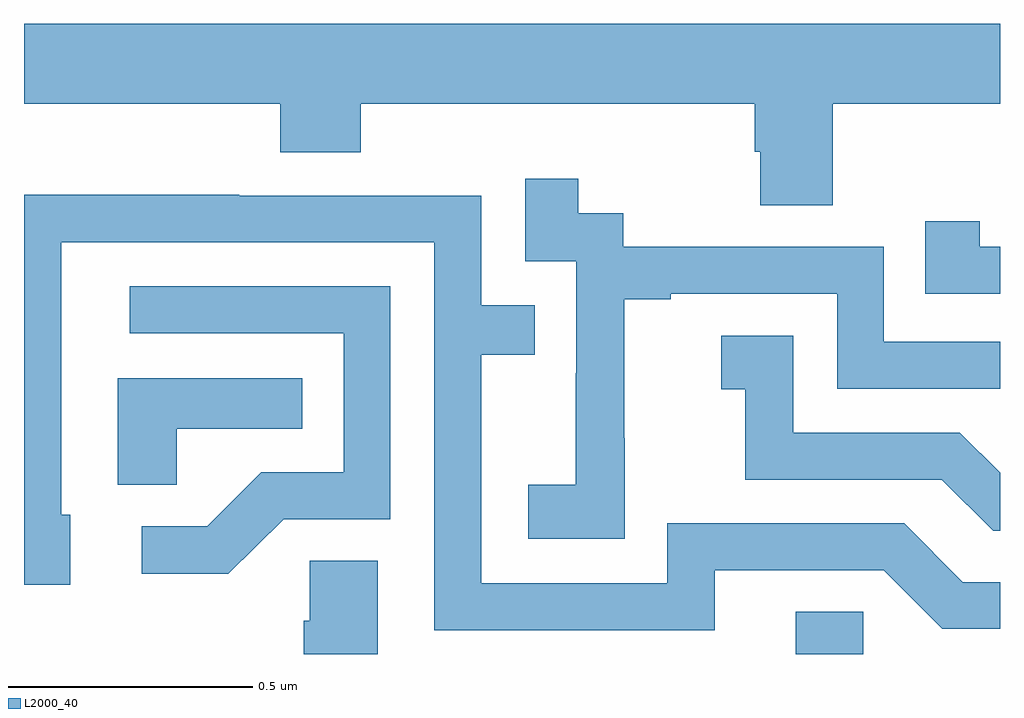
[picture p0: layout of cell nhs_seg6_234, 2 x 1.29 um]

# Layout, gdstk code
import gdstk
lib = gdstk.Library(unit=1e-6, precision=1e-09)
def R(c, l, rs):  # rectangles x0, y0, x1, y1
    for r in rs: c.add(gdstk.rectangle(r[:2], r[2:], *l))
def P(c, l, *ps):  # polygons
    for p in ps: c.add(gdstk.Polygon(p, *l))
L2000_40 = (2000, 40)

nhs_seg6_234 = lib.new_cell('nhs_seg6_234')
R(nhs_seg6_234, L2000_40, [(114.581,987.5,114.72,987.587)])
P(nhs_seg6_234, L2000_40, [(114.657,988.628),(115,988.628),(115,988.792),(113,988.792),(113,988.628),(113.525,988.628),(113.525,988.529),(113.69,988.529),(113.69,988.628),(114.497,988.628),(114.497,988.53),(114.509,988.53),(114.509,988.42),(114.657,988.42)],
  [(114.231,987.943),(114.23,987.943),(114.23,988.227),(114.325,988.227),(114.325,988.239),(114.666,988.239),(114.666,988.044),(115,988.044),(115,988.14),(114.762,988.14),(114.762,988.335),(114.228,988.335),(114.228,988.404),(114.136,988.404),(114.136,988.474),(114.027,988.474),(114.027,988.305),(114.132,988.305),(114.132,988.076),(114.131,988.076),(114.131,987.847),(114.033,987.847),(114.033,987.737),(114.231,987.737)],
  [(114.415,987.672),(114.762,987.672),(114.882,987.552),(115,987.552),(115,987.648),(114.924,987.648),(114.804,987.768),(114.318,987.768),(114.318,987.645),(113.937,987.645),(113.937,988.114),(114.047,988.114),(114.047,988.215),(113.937,988.215),(113.937,988.44),(113.441,988.44),(113.441,988.442),(113,988.442),(113,987.642),(113.095,987.642),(113.095,987.786),(113.076,987.786),(113.076,988.344),(113.841,988.344),(113.841,987.549),(114.415,987.549)],
  [(115,988.335),(114.958,988.335),(114.958,988.387),(114.847,988.387),(114.847,988.239),(115,988.239)],
  [(113.532,987.777),(113.751,987.777),(113.751,988.254),(113.217,988.254),(113.217,988.158),(113.655,988.158),(113.655,987.873),(113.486,987.873),(113.375,987.762),(113.241,987.762),(113.241,987.665),(113.419,987.665)],
  [(115,987.872),(114.918,987.954),(114.576,987.954),(114.576,988.153),(114.429,988.153),(114.429,988.043),(114.478,988.043),(114.478,987.858),(114.881,987.858),(114.986,987.753),(115,987.753)],
  [(113.313,987.962),(113.57,987.962),(113.57,988.066),(113.192,988.066),(113.192,987.847),(113.313,987.847)],
  [(113.725,987.692),(113.586,987.692),(113.586,987.569),(113.573,987.569),(113.573,987.5),(113.725,987.5)])

lib.write_gds('nhs_seg6_234.gds')
